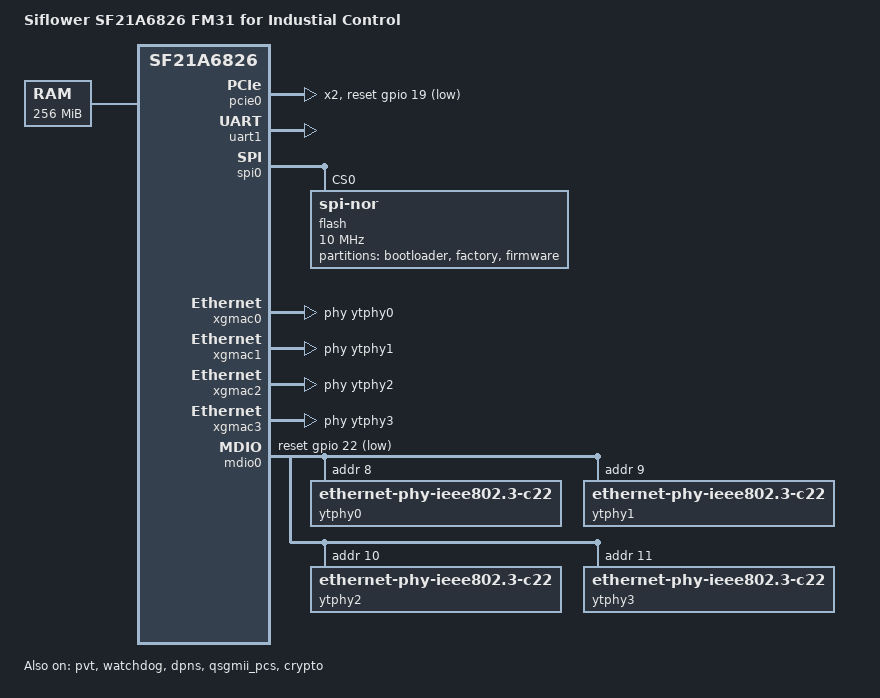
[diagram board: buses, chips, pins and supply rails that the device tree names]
/*
 * Copyright 2022 SiFlower Corporation.
 */

/dts-v1/;
#include "sf21a6826-fullmask.dtsi"

/ {
	model = "Siflower SF21A6826 FM31 for Industial Control";
	compatible = "siflower,sf21a6826-fm31-icontrol", "siflower,sf21a6826";

	chosen {
		bootargs = "earlycon";
		stdout-path = "serial1:115200n8";
	};

	memory@20000000 {
		device_type = "memory";
		reg = <0x0 0x20000000 0x0 0x10000000>;
	};
};

&pvt {
	status = "okay";
};

&pcie0 {
	reset-gpios = <&gpio 19 GPIO_ACTIVE_LOW>;
	reset-ms = <100>;
	num-lanes = <2>;
	lane-mode = <1>;
	status = "okay";

	pcie@0,0 {
		reg = <0x0000 0 0 0 0>;
		#address-cells = <3>;
		#size-cells = <2>;

		wifi@0,0 {
			reg = <0x0 0 0 0 0>;
		};

		wifi@0,1 {
			reg = <0x100 0 0 0 0>;
		};
	};
};

&pcie1 {
	reset-ms = <100>;
	num-lanes = <1>;
	lane-mode = <0>;
	status = "disabled";
};

&watchdog {
	status = "okay";
};

&uart1 {
	status = "okay";
};

&spi0 {
	status = "okay";
	flash@0 {
		compatible = "jedec,spi-nor";
		reg = <0>;
		spi-max-frequency = <10000000>;
		spi-tx-bus-width = <4>;
		spi-rx-bus-width = <4>;
		#address-cells = <1>;
		#size-cells = <1>;
	        partitions {
	            compatible = "fixed-partitions";
		        #address-cells = <1>;
			    #size-cells = <1>;

				partition0@0 {
					label = "bootloader";
					reg = <0x0 0x90000>;
					read-only;
				};
				factory:partition1@90000 {
					label = "factory";
					reg = <0x90000 0x10000>;
				};
				partition2@a0000 {
					label = "firmware";
					reg = <0xa0000 0>;
					compatible = "denx,fit";
				};
			};
	};
};

&i2c0 {
	status = "disabled";
};

&xgmac0 {
	status = "okay";
	//managed = "in-band-status";
	phy-handle = <&ytphy0>;
	nvmem-cells = <&mtd_mac_address>;
	nvmem-cell-names = "mac-address";
};

&xgmac1 {
	status = "okay";
	//managed = "in-band-status";
	phy-handle = <&ytphy1>;
	nvmem-cells = <&mtd_mac_address>;
	nvmem-cell-names = "mac-address";
};

&xgmac2 {
	status = "okay";
	//managed = "in-band-status";
	phy-handle = <&ytphy2>;
	nvmem-cells = <&mtd_mac_address>;
	nvmem-cell-names = "mac-address";
};

&xgmac3 {
	status = "okay";
	//managed = "in-band-status";
	phy-handle = <&ytphy3>;
	nvmem-cells = <&mtd_mac_address>;
	nvmem-cell-names = "mac-address";
};

&mdio0 {
	clock-frequency = <10500000>;
	reset-gpios = <&gpio 22 GPIO_ACTIVE_LOW>;
	reset-delay-us = <10000>;
	reset-post-delay-us = <100000>;

	ytphy0: ethernet-phy@8 {
		compatible = "ethernet-phy-ieee802.3-c22";
		reg = <0x8>;
	};

	ytphy1: ethernet-phy@9 {
		compatible = "ethernet-phy-ieee802.3-c22";
		reg = <0x9>;
	};

	ytphy2: ethernet-phy@a {
		compatible = "ethernet-phy-ieee802.3-c22";
		reg = <0xa>;
	};

	ytphy3: ethernet-phy@b {
		compatible = "ethernet-phy-ieee802.3-c22";
		reg = <0xb>;
	};
};

&dpns {
	status = "okay";
};

&edma {
	status = "okay";
};

&qsgmii_pcs {
	status = "okay";
};

&crypto {
	status = "okay";
};

#include "sf21a6826-factory.dtsi"
